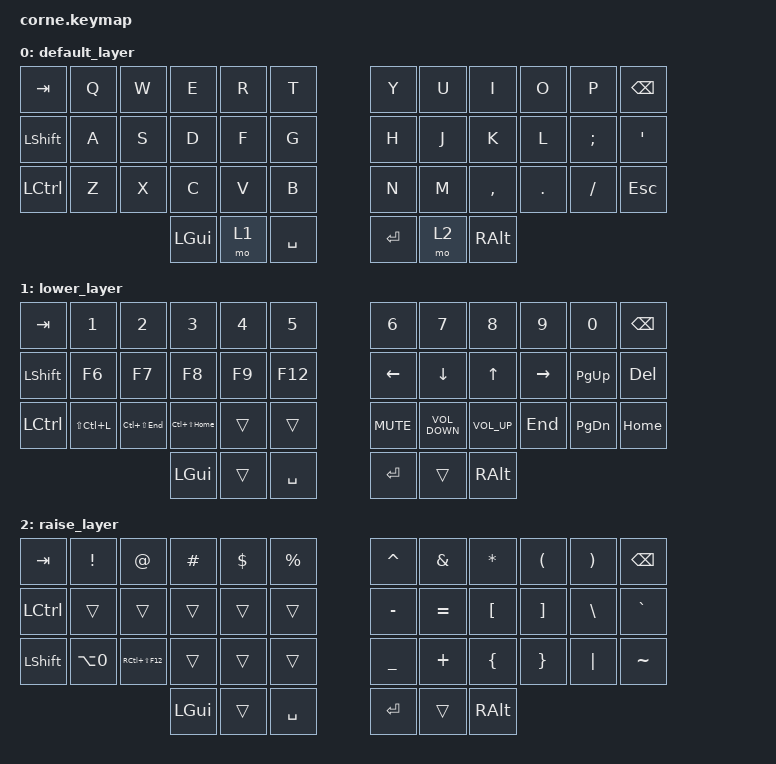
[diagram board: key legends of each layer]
/*
 * Copyright (c) 2020 The ZMK Contributors
 *
 * SPDX-License-Identifier: MIT
 */

#include <behaviors.dtsi>
#include <dt-bindings/zmk/bt.h>
#include <dt-bindings/zmk/keys.h>

/ {
    combos {
        compatible = "zmk,combos";

        combo_esc {
            timeout-ms = <50>;
            key-positions = <0 1>;
            bindings = <&kp ESC>;
        };

        Bluetoothclearall {
            bindings = <&bt BT_CLR>;
            key-positions = <12 13 14>;
        };

        bluetooth1 {
            bindings = <&bt BT_SEL 0>;
            key-positions = <0 1 2>;
        };

        bluetooth2 {
            bindings = <&bt BT_SEL 1>;
            key-positions = <3 4 5>;
        };

        bluetooth3 {
            bindings = <&bt BT_SEL 2>;
            key-positions = <6 7 8>;
        };

        printscreen {
            bindings = <&kp C_AC_PRINT>;
            key-positions = <11 23 35>;
        };

        clearallbluetooth {
            bindings = <&bt BT_CLR_ALL>;
            key-positions = <15 16 17 18 19 20>;
        };

        bluetooth-4 {
            bindings = <&bt BT_SEL 3>;
            key-positions = <9 10 11>;
        };
    };

    behaviors {
        ss_hs_modmorph: ss_hs_modmorph {
            compatible = "zmk,behavior-mod-morph";
            label = "SS_HS_MODMORPH";
            bindings = <&kp M>, <&kp RIGHT_BRACKET>;

            #binding-cells = <0>;
            mods = <(MOD_LSFT|MOD_RSFT)>;
        };

        kh_hs_tapdance: kh_hs_tapdance {
            compatible = "zmk,behavior-tap-dance";
            label = "KH_HS_TAPDANCE";
            #binding-cells = <0>;
            tapping-term-ms = <200>;
            bindings = <&kp LEFT_BRACKET>, <&kp RIGHT_BRACKET>;
        };

        hrm: hrm {
            compatible = "zmk,behavior-hold-tap";
            #binding-cells = <2>;
            flavor = "tap-preferred";
            tapping-term-ms = <200>;
            quick-tap-ms = <200>;
            require-prior-idle-ms = <125>;
            bindings = <&kp>, <&kp>;
        };
    };

    keymap {
        compatible = "zmk,keymap";

        default_layer {
            // -----------------------------------------------------------------------------------------
            // |  TAB |  Q  |  W  |  E  |  R  |  T  |   |  Y  |  U   |  I  |  O  |  P  | BKSP |
            // | CTRL |  A  |  S  |  D  |  F  |  G  |   |  H  |  J   |  K  |  L  |  ;  |  '   |
            // | SHFT |  Z  |  X  |  C  |  V  |  B  |   |  N  |  M   |  ,  |  .  |  /  | ESC  |
            //                    | GUI | LWR | SPC |   | ENT | RSE  | ALT |

            bindings = <
&kp TAB     &kp Q  &kp W  &kp E     &kp R  &kp T        &kp Y    &kp U  &kp I      &kp O    &kp P     &kp BSPC
&kp LSHIFT  &kp A  &kp S  &kp D     &kp F  &kp G        &kp H    &kp J  &kp K      &kp L    &kp SEMI  &kp SQT
&kp LCTRL   &kp Z  &kp X  &kp C     &kp V  &kp B        &kp N    &kp M  &kp COMMA  &kp DOT  &kp FSLH  &kp ESC
                          &kp LGUI  &mo 1  &kp SPACE    &kp RET  &mo 2  &kp RALT
            >;
        };

        lower_layer {
            // -----------------------------------------------------------------------------------------
            // |  TAB |  1  |  2  |  3  |  4  |  5  |   |  6  |  7  |  8  |  9  |  0  | BKSP |
            // | BTCLR| BT1 | BT2 | BT3 | BT4 | BT5 |   | LFT | DWN |  UP | RGT |     |      |
            // | SHFT |     |     |     |     |     |   |     |     |     |     |     |      |
            //                    | GUI |     | SPC |   | ENT |     | ALT |

            bindings = <
&kp TAB    &kp N1         &kp N2           &kp N3            &kp N4  &kp N5       &kp N6      &kp N7             &kp N8           &kp N9     &kp N0         &kp BSPC
&kp LSHFT  &kp F6         &kp F7           &kp F8            &kp F9  &kp F12      &kp LEFT    &kp DOWN           &kp UP           &kp RIGHT  &kp PAGE_UP    &kp DEL
&kp LCTRL  &kp LS(LC(L))  &kp LC(LS(END))  &kp LC(LS(HOME))  &trans  &trans       &kp K_MUTE  &kp C_VOLUME_DOWN  &kp C_VOLUME_UP  &kp END    &kp PAGE_DOWN  &kp HOME
                                           &kp LGUI          &trans  &kp SPACE    &kp RET     &trans             &kp RALT
            >;
        };

        raise_layer {
            // -----------------------------------------------------------------------------------------
            // |  TAB |  !  |  @  |  #  |  $  |  %  |   |  ^  |  &  |  *  |  (  |  )  | BKSP |
            // | CTRL |     |     |     |     |     |   |  -  |  =  |  [  |  ]  |  \  |  `   |
            // | SHFT |     |     |     |     |     |   |  _  |  +  |  {  |  }  | "|" |  ~   |
            //                    | GUI |     | SPC |   | ENT |     | ALT |

            bindings = <
&kp TAB    &kp EXCL          &kp AT           &kp HASH  &kp DLLR  &kp PRCNT    &kp CARET  &kp AMPS   &kp ASTRK  &kp LPAR  &kp RPAR  &kp BSPC
&kp LCTRL  &trans            &trans           &trans    &trans    &trans       &kp MINUS  &kp EQUAL  &kp LBKT   &kp RBKT  &kp BSLH  &kp GRAVE
&kp LSHFT  &kp LA(NUMBER_0)  &kp RC(LS(F12))  &trans    &trans    &trans       &kp UNDER  &kp PLUS   &kp LBRC   &kp RBRC  &kp PIPE  &kp TILDE
                                              &kp LGUI  &trans    &kp SPACE    &kp RET    &trans     &kp RALT
            >;
        };
    };
};
